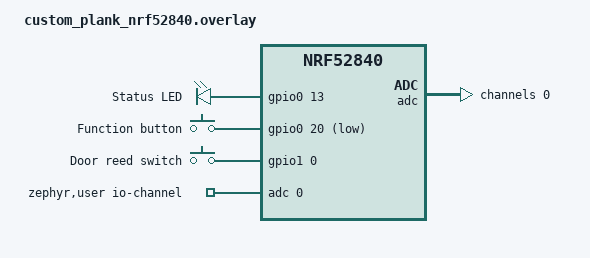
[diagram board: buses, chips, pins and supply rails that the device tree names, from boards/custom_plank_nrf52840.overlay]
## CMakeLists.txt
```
#-------------------------------------------------------------------------------
# Zephyr Example Application
#
# Copyright (c) 2021 Nordic Semiconductor ASA
# SPDX-License-Identifier: Apache-2.0

cmake_minimum_required(VERSION 3.13.1)
find_package(Zephyr REQUIRED HINTS $ENV{ZEPHYR_BASE})

#project(app LANGUAGES C)
project(app)

# Enable GNU STD support.
include(${ZEPHYR_CONNECTEDHOMEIP_MODULE_DIR}/config/nrfconnect/app/enable-gnu-std.cmake)

# NORDIC SDK APP START

# Include all source files that are located in the Matter common directory.
include(${ZEPHYR_NRF_MODULE_DIR}/samples/matter/common/cmake/source_common.cmake)

# Include Data Model utils
include(${ZEPHYR_NRF_MODULE_DIR}/samples/matter/common/cmake/data_model.cmake)

include(${ZEPHYR_NRF_MODULE_DIR}/samples/matter/common/cmake/zap_helpers.cmake)
ncs_get_zap_parent_dir(ZAP_PARENT_DIR)

target_include_directories(app PRIVATE
  src
  ${ZAP_PARENT_DIR}
)

target_sources(app PRIVATE
  src/app_task.cpp
  src/main.cpp
)

ncs_configure_data_model()
target_sources(app PRIVATE src/door_sensor.cpp)
target_sources(app PRIVATE src/power_monitor.cpp)
target_sources(app PRIVATE
  ${ZEPHYR_CONNECTEDHOMEIP_MODULE_DIR}/src/app/clusters/power-source-server/power-source-server.cpp
)
# NORDIC SDK APP END
```

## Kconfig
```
#
# Copyright (c) 2025 Nordic Semiconductor
#
# SPDX-License-Identifier: LicenseRef-Nordic-5-Clause
#
mainmenu "Door Sensor Matter Application"

choice OPENTHREAD_NORDIC_LIBRARY_CONFIGURATION
	default OPENTHREAD_NORDIC_LIBRARY_MTD
endchoice

choice OPENTHREAD_DEVICE_TYPE
	default OPENTHREAD_MTD
endchoice

config CHIP_ENABLE_ICD_SUPPORT
	default y

config CHIP_ICD_LIT_SUPPORT
	default y

config CHIP_ICD_SIT_SLOW_POLL_LIMIT
	default 5000

config CHIP_ICD_REPORT_ON_ACTIVE_MODE
	default y

# Reduce Thread TX output power to 0 dBm for SED device
config OPENTHREAD_DEFAULT_TX_POWER
	default 0

source "$(ZEPHYR_CONNECTEDHOMEIP_MODULE_DIR)/config/nrfconnect/chip-module/Kconfig.features"
source "$(ZEPHYR_CONNECTEDHOMEIP_MODULE_DIR)/config/nrfconnect/chip-module/Kconfig.defaults"
source "$(ZEPHYR_NRF_MODULE_DIR)/samples/matter/common/src/Kconfig"
source "Kconfig.zephyr"
```

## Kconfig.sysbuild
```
#
# Copyright (c) 2025 Nordic Semiconductor ASA
#
# SPDX-License-Identifier: LicenseRef-Nordic-5-Clause
#

#### Radio core selection
config NRF_DEFAULT_IPC_RADIO
	default y

# Enable IEEE802.15.4 serialization to network core
config NETCORE_IPC_RADIO_IEEE802154
	default y if SOC_SERIES_NRF53X

# Enable Bluetooth serialization to network core
config NETCORE_IPC_RADIO_BT_HCI_IPC
	default y if SOC_SERIES_NRF53X

#### Bootloader
choice BOOTLOADER
	default BOOTLOADER_MCUBOOT
endchoice

if BOOTLOADER_MCUBOOT

#### DFU multi-image support
config DFU_MULTI_IMAGE_PACKAGE_BUILD
	default y

config DFU_MULTI_IMAGE_PACKAGE_APP
	default y

config PM_EXTERNAL_FLASH_MCUBOOT_SECONDARY
	default y

#### DFU network core configuration
if SOC_SERIES_NRF53X

config MCUBOOT_UPDATEABLE_IMAGES
	default 2

choice MCUBOOT_MODE
	default MCUBOOT_MODE_OVERWRITE_ONLY
endchoice

choice BOOT_SIGNATURE_TYPE
	default BOOT_SIGNATURE_TYPE_RSA
endchoice

config SECURE_BOOT_NETCORE
	default y

config NETCORE_APP_UPDATE
	default y

config DFU_MULTI_IMAGE_PACKAGE_NET
	default y

endif # SOC_SERIES_NRF53X

endif # BOOTLOADER_MCUBOOT

#### Enable generating factory data
config MATTER_FACTORY_DATA_GENERATE
	default y

source "share/sysbuild/Kconfig"
```

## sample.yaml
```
# This file is provided so that the application can be compiled using Twister,
# the Zephyr testing tool. In this file, multiple combinations can be specified,
# so that you can easily test all of them locally or in CI.
sample:
  description: Example application
  name: example-application
common:
  sysbuild: true
  build_only: true
  integration_platforms:
    - custom_plank
    - nrf52840dk/nrf52840
tests:
  app.default: {}
  app.debug:
    extra_overlay_confs:
      - debug.conf
```

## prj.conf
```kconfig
# Copyright (c) 2025 Nordic Semiconductor ASA
# SPDX-License-Identifier: LicenseRef-Nordic-5-Clause

# Enable CHIP
CONFIG_CHIP=y
CONFIG_CHIP_PROJECT_CONFIG="src/chip_project_config.h"
CONFIG_CHIP_DEVICE_VENDOR_NAME="Bobbe"
CONFIG_CHIP_DEVICE_PRODUCT_NAME="Door Sensor"

# Configure ZAP file name
CONFIG_NCS_SAMPLE_MATTER_ZAP_FILE_PATH="${APPLICATION_CONFIG_DIR}/src/default_zap/contact_sensor.zap"

CONFIG_CHIP_DEVICE_PRODUCT_ID=32768

# Device identity — override Nordic defaults
CONFIG_CHIP_DEVICE_HARDWARE_VERSION=1
CONFIG_CHIP_DEVICE_HARDWARE_VERSION_STRING="1.0"
CONFIG_CHIP_DEVICE_SOFTWARE_VERSION=1
CONFIG_CHIP_DEVICE_SOFTWARE_VERSION_STRING="1.0.0"

CONFIG_STD_CPP17=y

# Enable Matter pairing automatically on application start.
CONFIG_CHIP_ENABLE_PAIRING_AUTOSTART=y

# Enable Matter extended announcement and increase duration to 1 hour.
CONFIG_CHIP_BLE_EXT_ADVERTISING=n
CONFIG_CHIP_BLE_ADVERTISING_DURATION=15

# Add support for LEDs and buttons on Nordic development kits
CONFIG_DK_LIBRARY=y

# Bluetooth Low Energy configuration
CONFIG_BT_DEVICE_NAME="DoorSensor"
CONFIG_BT_DEVICE_NAME_MAX=18

CONFIG_PM_DEVICE=y

# Other settings
CONFIG_THREAD_NAME=y
CONFIG_MPU_STACK_GUARD=y
CONFIG_RESET_ON_FATAL_ERROR=n
CONFIG_CHIP_LIB_SHELL=n

# Enable Factory Data feature
CONFIG_CHIP_FACTORY_DATA=y
CONFIG_CHIP_FACTORY_DATA_BUILD=y

CONFIG_ADC=y
CONFIG_NRFX_GPPI=y
CONFIG_NRFX_TIMER=y

# Disable all debug features
CONFIG_USE_SEGGER_RTT=n
CONFIG_SHELL=n
CONFIG_OPENTHREAD_SHELL=n
CONFIG_CONSOLE=n
CONFIG_UART_CONSOLE=n
CONFIG_SERIAL=n
CONFIG_LOG=n
CONFIG_LOG_MODE_MINIMAL=n
CONFIG_ASSERT_VERBOSE=n
CONFIG_ASSERT_NO_FILE_INFO=y
CONFIG_PRINTK=n
CONFIG_PRINTK_SYNC=n
CONFIG_THREAD_NAME=n
CONFIG_BOOT_BANNER=n
```

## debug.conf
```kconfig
# Copyright (c) 2021 Nordic Semiconductor ASA
# SPDX-License-Identifier: Apache-2.0
#
# This is a Kconfig fragment which can be used to enable debug-related options
# in the application. See the README for more details.

# compiler
CONFIG_DEBUG_OPTIMIZATIONS=y

# logging
CONFIG_LOG=y
CONFIG_SERIAL=y
CONFIG_UART_CONSOLE=y
CONFIG_LOG_DEFAULT_LEVEL=4
```

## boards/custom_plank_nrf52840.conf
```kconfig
# custom_plank runs without MCUBoot, so OTA/DFU is disabled.
CONFIG_CHIP_BOOTLOADER_NONE=y
CONFIG_BOOTLOADER_MCUBOOT=n
CONFIG_IMG_MANAGER=n

# custom_plank.dts doesn't enable the NFCT peripheral, so disable NFC commissioning.
CONFIG_CHIP_NFC_ONBOARDING_PAYLOAD=n
```

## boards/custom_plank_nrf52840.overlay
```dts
/ {
	aliases {
		led0 = &status_led;
		sw0 = &function_button;
	};

	leds {
		compatible = "gpio-leds";
		status_led: led_0 {
			gpios = <&gpio0 13 GPIO_ACTIVE_HIGH>;
			label = "Status LED";
		};
	};

	buttons {
		compatible = "gpio-keys";
		function_button: button_0 {
			gpios = <&gpio0 20 (GPIO_PULL_UP | GPIO_ACTIVE_LOW)>;
			label = "Function button";
			zephyr,code = <INPUT_KEY_0>;
		};
	};

	input {
		compatible = "gpio-keys";
		sensor: sensor_0 {
			gpios = <&gpio1 0 (GPIO_PULL_UP | GPIO_ACTIVE_HIGH)>;
			label = "Door reed switch";
			zephyr,code = <INPUT_KEY_1>;
		};
	};

	zephyr,user {
		io-channels = <&adc 0>;
	};
};

&adc {
	#address-cells = <1>;
	#size-cells = <0>;
	status = "okay";

	channel@0 {
		reg = <0>;
		zephyr,gain = "ADC_GAIN_1_6";
		zephyr,reference = "ADC_REF_INTERNAL";
		zephyr,acquisition-time = <ADC_ACQ_TIME_DEFAULT>;
		zephyr,input-positive = <NRF_SAADC_VDD>;
		zephyr,resolution = <12>;
	};
};
```

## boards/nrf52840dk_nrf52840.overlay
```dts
/ {
	chosen {
		nordic,pm-ext-flash = &mx25r64;
	};

	zephyr,user {
		io-channels = <&adc 0>;
	};

	input {
		compatible = "gpio-keys";
		sensor: sensor_0 {
			gpios = <&gpio1 15 (GPIO_PULL_UP | GPIO_ACTIVE_HIGH)>;
			label = "Door reed switch";
			zephyr,code = <INPUT_KEY_0>;
		};
	};
};

&adc {
	#address-cells = <1>;
	#size-cells = <0>;
	status = "okay";
	channel@0 {
		reg = <0>;
		zephyr,gain = "ADC_GAIN_1_6";
		zephyr,reference = "ADC_REF_INTERNAL";
		zephyr,acquisition-time = <ADC_ACQ_TIME_DEFAULT>;
		zephyr,input-positive = <NRF_SAADC_VDD>;
		zephyr,resolution = <12>;
	};
};

&uart0 {
	status = "disabled";
};
&uart1 {
	status = "disabled";
};
&i2c0 {
	status = "disabled";
};
&i2c1 {
	status = "disabled";
};
&pwm0 {
	status = "disabled";
};
&spi0 {
	status = "disabled";
};
&spi1 {
	status = "disabled";
};
&spi2 {
	status = "disabled";
};
&spi3 {
	status = "disabled";
};
&usbd {
	status = "disabled";
};
```

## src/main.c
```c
#include "door_sensor.h"

#include <zephyr/drivers/gpio.h>
#include <zephyr/kernel.h>
#include <zephyr/logging/log.h>

LOG_MODULE_REGISTER(main);

#define LED0_NODE DT_ALIAS(led0)

static const struct gpio_dt_spec led = GPIO_DT_SPEC_GET(LED0_NODE, gpios);

static void on_door_state_changed(bool is_open)
{
	gpio_pin_set_dt(&led, is_open);
	LOG_INF("Door %s", is_open ? "opened" : "closed");
}

int main(void)
{
	LOG_INF("Door Sensor Powered On");

	if (!gpio_is_ready_dt(&led)) {
		LOG_ERR("LED GPIO not ready");
		return 0;
	}

	int ret = gpio_pin_configure_dt(&led, GPIO_OUTPUT_INACTIVE);
	if (ret < 0) {
		LOG_ERR("Could not configure LED GPIO (%d)", ret);
		return 0;
	}

	ret = door_sensor_init();
	if (ret < 0) {
		LOG_ERR("Could not init door sensor (%d)", ret);
		return 0;
	}

	door_sensor_set_callback(on_door_state_changed);

	bool is_open = door_sensor_is_open();

	gpio_pin_set_dt(&led, is_open);
	LOG_INF("Initial state: Door %s", is_open ? "open" : "closed");

	k_sleep(K_FOREVER);
	return 0;
}
```

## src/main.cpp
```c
#include "door_sensor.h"
#include "app_task.h"
#include "power_monitor.h"

#include <zephyr/drivers/gpio.h>
#include <zephyr/kernel.h>
#include <zephyr/logging/log.h>

LOG_MODULE_REGISTER(main);

#define LED0_NODE DT_ALIAS(led0)

static const struct gpio_dt_spec led = GPIO_DT_SPEC_GET(LED0_NODE, gpios);

static void on_door_state_changed(bool is_open)
{
	gpio_pin_set_dt(&led, is_open);
	LOG_INF("Door %s", is_open ? "opened" : "closed");
	AppTask::UpdateContactState(is_open);

	int32_t voltage_mv;
	if (power_monitor_read_mv(&voltage_mv) == 0) {
		AppTask::UpdateBatVoltage(voltage_mv);
	}
}

int main(void)
{
	LOG_INF("Door Sensor Powered On");

	if (!gpio_is_ready_dt(&led)) {
		LOG_ERR("LED GPIO not ready");
		return 0;
	}

	int ret = gpio_pin_configure_dt(&led, GPIO_OUTPUT_INACTIVE);
	if (ret < 0) {
		LOG_ERR("Could not configure LED GPIO (%d)", ret);
		return 0;
	}

	ret = power_monitor_init();
	if (ret < 0) {
		LOG_ERR("Could not init power monitor (%d)", ret);
		return 0;
	}

	int32_t voltage_mv;
	ret = power_monitor_read_mv(&voltage_mv);
	if (ret == 0) {
		LOG_INF("Supply voltage: %d mV", voltage_mv);
		AppTask::UpdateBatVoltage(voltage_mv);
	}

	ret = door_sensor_init();
	if (ret < 0) {
		LOG_ERR("Could not init door sensor (%d)", ret);
		return 0;
	}

	door_sensor_set_callback(on_door_state_changed);

	bool is_open = door_sensor_is_open();

	gpio_pin_set_dt(&led, is_open);
	LOG_INF("Initial state: Door %s", is_open ? "open" : "closed");

	AppTask::UpdateContactState(is_open);

	CHIP_ERROR err = AppTask::Instance().StartApp();

	LOG_ERR("Exited with code %" CHIP_ERROR_FORMAT, err.Format());
	return err == CHIP_NO_ERROR ? EXIT_SUCCESS : EXIT_FAILURE;
}
```

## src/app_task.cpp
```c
/*
 * Copyright (c) 2025 Nordic Semiconductor ASA
 *
 * SPDX-License-Identifier: LicenseRef-Nordic-5-Clause
 */

#include "app_task.h"

#include "app/matter_init.h"
#include "app/task_executor.h"
#include "board/board.h"
#include "clusters/identify.h"

#include "lib/core/CHIPError.h"
#include <app-common/zap-generated/attributes/Accessors.h>
#include <app/clusters/boolean-state-server/CodegenIntegration.h>
#include <app/clusters/power-source-server/power-source-server.h>

#include <zephyr/logging/log.h>

LOG_MODULE_DECLARE(app, CONFIG_CHIP_APP_LOG_LEVEL);

using namespace ::chip;
using namespace ::chip::app;
using namespace ::chip::DeviceLayer;

namespace
{
constexpr chip::EndpointId kContactSensorEndpointId = 1;
constexpr chip::EndpointId kPowerSourceEndpointId = 0;

Nrf::Matter::IdentifyCluster sIdentifyCluster(kContactSensorEndpointId);

#ifdef CONFIG_CHIP_ICD_UAT_SUPPORT
#define UAT_BUTTON_MASK DK_BTN3_MSK
#endif
} /* namespace */

void AppTask::UpdateContactState(bool isOpen)
{
	Nrf::PostTask([isOpen] {
		auto booleanState =
			app::Clusters::BooleanState::FindClusterOnEndpoint(
				kContactSensorEndpointId);
		if (booleanState == nullptr) {
			LOG_ERR("Updating contact sensor state failed");
			return;
		}
		booleanState->SetStateValue(!isOpen);
	});
}

void AppTask::UpdateBatVoltage(int32_t voltage_mv)
{
	Nrf::PostTask([voltage_mv] {
		chip::app::Clusters::PowerSource::Attributes::BatVoltage::Set(
			kPowerSourceEndpointId,
			static_cast<uint32_t>(voltage_mv));

		/* BatPercentRemaining is 0-200 (units of 0.5%).
		 * Assumes 3000 mV = 100%, 2000 mV = 0% (typical 3V cell). */
		constexpr int32_t kBatMaxMv = 3000;
		constexpr int32_t kBatMinMv = 2000;
		int32_t pct = (voltage_mv - kBatMinMv) * 200 /
			      (kBatMaxMv - kBatMinMv);
		pct = pct < 0 ? 0 : (pct > 200 ? 200 : pct);
		chip::app::Clusters::PowerSource::Attributes::
			BatPercentRemaining::Set(kPowerSourceEndpointId,
						 static_cast<uint8_t>(pct));
	});
}

void AppTask::ButtonEventHandler(Nrf::ButtonState state,
				 Nrf::ButtonMask hasChanged)
{
#ifdef CONFIG_CHIP_ICD_UAT_SUPPORT
	if ((UAT_BUTTON_MASK & state & hasChanged)) {
		LOG_INF("ICD UserActiveMode has been triggered.");
		Server::GetInstance().GetICDManager().OnNetworkActivity();
	}
#endif
}

CHIP_ERROR AppTask::Init()
{
	/* Initialize Matter stack */
	ReturnErrorOnFailure(Nrf::Matter::PrepareServer());

	if (!Nrf::GetBoard().Init(ButtonEventHandler)) {
		LOG_ERR("User interface initialization failed.");
		return CHIP_ERROR_INCORRECT_STATE;
	}

	/* Register Matter event handler that controls the connectivity status
	 * LED based on the captured Matter network state. */
	ReturnErrorOnFailure(Nrf::Matter::RegisterEventHandler(
		Nrf::Board::DefaultMatterEventHandler, 0));

	ReturnErrorOnFailure(sIdentifyCluster.Init());

	return Nrf::Matter::StartServer();
}

CHIP_ERROR AppTask::StartApp()
{
	ReturnErrorOnFailure(Init());

	while (true) {
		Nrf::DispatchNextTask();
	}

	return CHIP_NO_ERROR;
}
```

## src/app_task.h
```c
/*
 * Copyright (c) 2025 Nordic Semiconductor ASA
 *
 * SPDX-License-Identifier: LicenseRef-Nordic-5-Clause
 */

#pragma once

#include "board/board.h"

#include <platform/CHIPDeviceLayer.h>

struct Identify;

class AppTask
{
      public:
	static AppTask &Instance()
	{
		static AppTask sAppTask;
		return sAppTask;
	};

	CHIP_ERROR StartApp();
	static void UpdateContactState(bool isOpen);
	static void UpdateBatVoltage(int32_t voltage_mv);

      private:
	CHIP_ERROR Init();

	static void ButtonEventHandler(Nrf::ButtonState state,
				       Nrf::ButtonMask hasChanged);
};
```

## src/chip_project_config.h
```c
/*
 * Copyright (c) 2025 Nordic Semiconductor ASA
 *
 * SPDX-License-Identifier: LicenseRef-Nordic-5-Clause
 */

#pragma once
```

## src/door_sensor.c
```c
#include "door_sensor.h"

#include <zephyr/drivers/gpio.h>
#include <zephyr/kernel.h>
#include <zephyr/logging/log.h>

LOG_MODULE_REGISTER(door_sensor);

#define DEBOUNCE_MS 10

static const struct gpio_dt_spec sw =
	GPIO_DT_SPEC_GET(DT_NODELABEL(sensor), gpios);
static struct gpio_callback gpio_cb_data;
static door_sensor_callback_t state_changed_cb;
static struct k_work_delayable debounce_work;

static void debounce_handler(struct k_work *work)
{
	ARG_UNUSED(work);

	if (state_changed_cb) {
		state_changed_cb(door_sensor_is_open());
	}
}

static void gpio_callback(const struct device *dev, struct gpio_callback *cb,
			  uint32_t pins)
{
	ARG_UNUSED(dev);
	ARG_UNUSED(cb);
	ARG_UNUSED(pins);

	k_work_reschedule(&debounce_work, K_MSEC(DEBOUNCE_MS));
}

int door_sensor_init(void)
{
	int ret;

	k_work_init_delayable(&debounce_work, debounce_handler);

	if (!gpio_is_ready_dt(&sw)) {
		LOG_ERR("GPIO device not ready");
		return -ENODEV;
	}

	ret = gpio_pin_configure_dt(&sw, GPIO_INPUT);
	if (ret < 0) {
		LOG_ERR("Could not configure GPIO (%d)", ret);
		return ret;
	}

	ret = gpio_pin_interrupt_configure_dt(&sw, GPIO_INT_EDGE_BOTH);
	if (ret < 0) {
		LOG_ERR("Could not configure GPIO interrupt (%d)", ret);
		return ret;
	}

	gpio_init_callback(&gpio_cb_data, gpio_callback, BIT(sw.pin));

	ret = gpio_add_callback(sw.port, &gpio_cb_data);
	if (ret < 0) {
		LOG_ERR("Could not add GPIO callback (%d)", ret);
		return ret;
	}

	return 0;
}

bool door_sensor_is_open(void)
{
	return gpio_pin_get_dt(&sw) != 0;
}

void door_sensor_set_callback(door_sensor_callback_t cb)
{
	state_changed_cb = cb;
}
```

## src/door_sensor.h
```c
#pragma once

using door_sensor_callback_t = void (*)(bool is_open);

int door_sensor_init();
bool door_sensor_is_open();
void door_sensor_set_callback(door_sensor_callback_t cb);
```

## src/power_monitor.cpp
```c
#include "power_monitor.h"

#include <zephyr/drivers/adc.h>
#include <zephyr/logging/log.h>

LOG_MODULE_REGISTER(power_monitor, CONFIG_LOG_DEFAULT_LEVEL);

static const struct adc_dt_spec adc_ch = ADC_DT_SPEC_GET(DT_PATH(zephyr_user));

static int16_t sample_buf;
static struct adc_sequence sequence = {
	.buffer = &sample_buf,
	.buffer_size = sizeof(sample_buf),
};

int power_monitor_init()
{
	if (!adc_is_ready_dt(&adc_ch)) {
		LOG_ERR("ADC device not ready");
		return -ENODEV;
	}

	int err = adc_channel_setup_dt(&adc_ch);
	if (err < 0) {
		LOG_ERR("ADC channel setup failed (%d)", err);
	}
	return err;
}

int power_monitor_read_mv(int32_t *voltage_mv)
{
	int err = adc_sequence_init_dt(&adc_ch, &sequence);
	if (err < 0) {
		return err;
	}

	err = adc_read(adc_ch.dev, &sequence);
	if (err < 0) {
		LOG_ERR("ADC read failed (%d)", err);
		return err;
	}

	*voltage_mv = sample_buf;
	return adc_raw_to_millivolts_dt(&adc_ch, voltage_mv);
}
```

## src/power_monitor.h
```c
#pragma once

#include <cstdint>

int power_monitor_init();
int power_monitor_read_mv(int32_t *voltage_mv);
```
